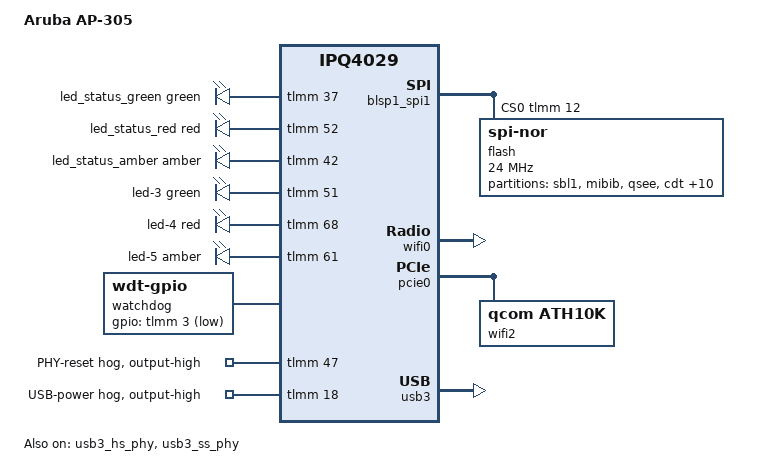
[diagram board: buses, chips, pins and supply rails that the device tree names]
// SPDX-License-Identifier: GPL-2.0-only OR MIT

#include "qcom-ipq4029-aruba-glenmorangie.dtsi"
#include <dt-bindings/gpio/gpio.h>
#include <dt-bindings/leds/common.h>
#include <dt-bindings/soc/qcom,tcsr.h>

/ {
	model = "Aruba AP-305";
	compatible = "aruba,ap-305";

	aliases {
		led-boot = &led_status_green;
		led-failsafe = &led_status_red;
		led-running = &led_status_green;
		led-upgrade = &led_status_amber;
	};

	leds {
		compatible = "gpio-leds";

		led_status_green: led-0 {
			function = LED_FUNCTION_STATUS;
			color = <LED_COLOR_ID_GREEN>;
			gpios = <&tlmm 37 GPIO_ACTIVE_HIGH>;
		};

		led_status_red: led-1 {
			function = LED_FUNCTION_STATUS;
			color = <LED_COLOR_ID_RED>;
			gpios = <&tlmm 52 GPIO_ACTIVE_HIGH>;
		};

		led_status_amber: led-2 {
			function = LED_FUNCTION_STATUS;
			color = <LED_COLOR_ID_AMBER>;
			gpios = <&tlmm 42 GPIO_ACTIVE_HIGH>;
		};

		led-3 {
			function = LED_FUNCTION_WLAN;
			color = <LED_COLOR_ID_GREEN>;
			gpios = <&tlmm 51 GPIO_ACTIVE_HIGH>;
			linux,default-trigger = "phy1tpt";
		};

		led-4 {
			function = LED_FUNCTION_WLAN;
			color = <LED_COLOR_ID_RED>;
			gpios = <&tlmm 68 GPIO_ACTIVE_HIGH>;
		};

		led-5 {
			function = LED_FUNCTION_WLAN;
			color = <LED_COLOR_ID_AMBER>;
			gpios = <&tlmm 61 GPIO_ACTIVE_HIGH>;
			linux,default-trigger = "phy0tpt";
		};
	};

	watchdog {
		compatible = "linux,wdt-gpio";
		gpios = <&tlmm 3 GPIO_ACTIVE_LOW>;
		hw_algo = "toggle";
		hw_margin_ms = <1000>;
		always-running;
	};
};

&tlmm {
	phy-reset {
		line-name = "PHY-reset";
		gpios = <47 GPIO_ACTIVE_HIGH>;
		gpio-hog;
		output-high;
	};

	usb-power {
		line-name = "USB-power";
		gpios = <18 GPIO_ACTIVE_HIGH>;
		gpio-hog;
		output-high;
	};
};

&blsp1_spi1 {
	pinctrl-0 = <&spi_0_pins>;
	pinctrl-names = "default";
	status = "okay";
	cs-gpios = <&tlmm 12 GPIO_ACTIVE_HIGH>;

	flash@0 {
		compatible = "jedec,spi-nor";
		reg = <0>;
		spi-max-frequency = <24000000>;

		partitions {
			compatible = "fixed-partitions";
			#address-cells = <1>;
			#size-cells = <1>;

			partition@0 {
				label = "sbl1";
				reg = <0x0 0x40000>;
				read-only;
			};

			partition@40000 {
				label = "mibib";
				reg = <0x40000 0x20000>;
				read-only;
			};

			partition@60000 {
				label = "qsee";
				reg = <0x60000 0x60000>;
				read-only;
			};

			partition@c0000 {
				label = "cdt";
				reg = <0xc0000 0x10000>;
				read-only;
			};

			partition@d0000 {
				label = "ddrparams";
				reg = <0xd0000 0x10000>;
				read-only;
			};

			partition@e0000 {
				label = "u-boot-env";
				reg = <0xe0000 0x10000>;
			};

			partition@f0000 {
				label = "appsbl";
				reg = <0xf0000 0x100000>;
				read-only;
			};

			partition@1f0000 {
				label = "ART";
				reg = <0x1f0000 0x10000>;
				read-only;

				nvmem-layout {
					compatible = "fixed-layout";
					#address-cells = <1>;
					#size-cells = <1>;

					precal_art_1000: precal@1000 {
						reg = <0x1000 0x2f20>;
					};

					precal_art_5000: precal@5000 {
						reg = <0x5000 0x2f20>;
					};

					precal_art_9000: precal@9000 {
						reg = <0x9000 0x2f20>;
					};
				};
			};

			partition@200000 {
				label = "osss";
				reg = <0x200000 0x170000>;
				read-only;
			};

			partition@370000 {
				label = "pds";
				reg = <0x370000 0x10000>;
				read-only;
			};

			partition@380000 {
				label = "apcd";
				reg = <0x380000 0x10000>;
				read-only;
			};

			partition@390000 {
				label = "mfginfo";
				reg = <0x390000 0x10000>;
				read-only;

				nvmem-layout {
					compatible = "fixed-layout";
					#address-cells = <1>;
					#size-cells = <1>;

					macaddr_mfginfo_1d: macaddr@1d {
						compatible = "mac-base";
						reg = <0x1d 0x6>;
						#nvmem-cell-cells = <1>;
					};
				};
			};

			partition@3a0000 {
				label = "fcache";
				reg = <0x3a0000 0x10000>;
				read-only;
			};

			partition@3b0000 {
				label = "osss1";
				reg = <0x3b0000 0x50000>;
				read-only;
			};
		};
	};
};

&wifi0 {
	qcom,ath10k-calibration-variant = "Aruba-AP-305";
};

&wifi1 {
	status = "disabled";
};

&pcie0 {
	status = "okay";
	perst-gpio = <&tlmm 38 GPIO_ACTIVE_LOW>;
	wake-gpio = <&tlmm 50 GPIO_ACTIVE_LOW>;

	bridge@0,0 {
		reg = <0x00000000 0 0 0 0>;
		#address-cells = <3>;
		#size-cells = <2>;
		ranges;

		wifi2: wifi@1,0 {
			compatible = "qcom,ath10k";
			status = "okay";
			reg = <0x00010000 0 0 0 0>;

			nvmem-cell-names = "pre-calibration", "mac-address";
			nvmem-cells = <&precal_art_9000>, <&macaddr_mfginfo_1d 2>;
			qcom,ath10k-calibration-variant = "Aruba-AP-305";
		};
	};
};

/ {
	soc {
		tcsr@194b000 {
			compatible = "qcom,tcsr";
			reg = <0x194b000 0x100>;
			qcom,usb-hsphy-mode-select = <TCSR_USB_HSPHY_HOST_MODE>;
		};
	};
};

&usb3 {
	status = "okay";
};

&usb3_hs_phy {
	status = "okay";
};

&usb3_ss_phy {
	status = "okay";
};
